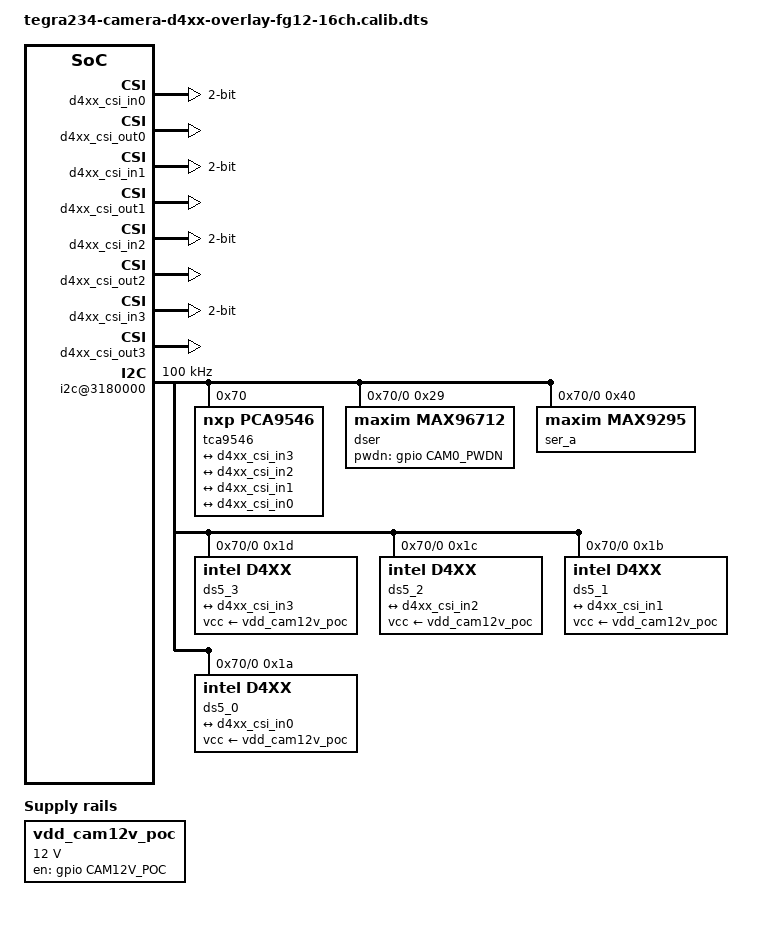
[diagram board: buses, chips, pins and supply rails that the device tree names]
// SPDX-License-Identifier: GPL-2.0-only
// SPDX-FileCopyrightText: Copyright (c) 2018-2023, INTEL CORPORATION.  All rights reserved.

/dts-v1/;
/plugin/;

#include <dt-bindings/clock/tegra234-clock.h>
#include <dt-bindings/gpio/tegra234-gpio.h>
#include <dt-bindings/tegra234-p3737-0000+p3701-0000.h>

#define CAM0_PWDN	TEGRA234_MAIN_GPIO(H, 6)  //MAX96712_1 PWDN
//#define CAM1_PWDN	TEGRA234_MAIN_GPIO(H, 3)  //MAX96712_2 PWDN
//#define CAM2_PWDN	TEGRA234_MAIN_GPIO(AC, 0) //MAX96712_3 PWDN
//#define CAM3_PWDN	TEGRA234_MAIN_GPIO(AC, 1) //MAX96712_4 PWDN
#define CAM12V_POC	TEGRA234_MAIN_GPIO(AC, 7)

#define CAMERA_I2C_MUX_BUS(x) (0x1E + x)



/* camera control gpio definitions */
/ {
	overlay-name = "Jetson RealSense Camera D4xx with max96712 and tca9546 (fg12-16ch) for Calibration";
	jetson-header-name = "Jetson AGX CSI Connector";
	compatible = JETSON_COMPATIBLE;

	fragment@1 {
		target-path = "/";
		__overlay__ {
			vdd_cam12v_poc: regulator-vdd-cam12v-poc {
					compatible = "regulator-fixed";
					regulator-name = "vdd-cam12v-poc";
					regulator-min-microvolt = <12000000>;
					regulator-max-microvolt = <12000000>;
					gpio = <&gpio CAM12V_POC GPIO_ACTIVE_HIGH>;
					enable-active-high;
			};
		};
	};
	fragment@0 {
		target-path = "/";
		__overlay__ {
			tegra-capture-vi {
				num-channels = <4>;
				ports {
					status = "okay";
					port@0 {
						status = "okay";
						reg = <0>;
						d4xx_vi_in0: endpoint {
							status = "okay";
							vc-id = <0>;
							port-index = <0>;
							bus-width = <2>;
							remote-endpoint = <&d4xx_csi_out0>;
						};
					};
					port@1 {
						status = "okay";
						reg = <1>;
						d4xx_vi_in1: endpoint {
							status = "okay";
							vc-id = <1>;
							port-index = <0>;
							bus-width = <2>;
							remote-endpoint = <&d4xx_csi_out1>;
						};
					};
					port@2 {
						status = "okay";
						reg = <2>;
						d4xx_vi_in2: endpoint {
							status = "okay";
							vc-id = <2>;
							port-index = <0>;
							bus-width = <2>;
							remote-endpoint = <&d4xx_csi_out2>;
						};
					};
					port@3 {
						status = "okay";
						reg = <3>;
						d4xx_vi_in3: endpoint {
							status = "okay";
							vc-id = <3>;
							port-index = <0>;
							bus-width = <2>;
							remote-endpoint = <&d4xx_csi_out3>;
						};
					};
				};
			};

			bus@0 {
				host1x@13e00000 {
					nvcsi@15a00000 {
						num-channels = <4>;
						channel@0 {
							status = "okay";
							reg = <0>;
							ports {
								status = "okay";
								port@0 {
									status = "okay";
									reg = <0>;
									d4xx_csi_in0: endpoint@0 {
										status = "okay";
										port-index = <0>;
										bus-width = <2>;
										remote-endpoint = <&ds5_0_out>;
									};
								};
								port@1 {
									status = "okay";
									reg = <1>;
									d4xx_csi_out0: endpoint@1 {
										status = "okay";
										remote-endpoint = <&d4xx_vi_in0>;
									};
								};
							};
						};
						channel@1 {
							status = "okay";
							reg = <1>;
							ports {
								status = "okay";
								port@0 {
									status = "okay";
									reg = <0>;
									d4xx_csi_in1: endpoint@2 {
										status = "okay";
										port-index = <0>;
										bus-width = <2>;
										remote-endpoint = <&ds5_1_out>;
									};
								};
								port@1 {
									status = "okay";
									reg = <1>;
									d4xx_csi_out1: endpoint@3 {
										status = "okay";
										remote-endpoint = <&d4xx_vi_in1>;
									};
								};
							};
						};
						channel@2 {
							status = "okay";
							reg = <2>;
							ports {
								status = "okay";
								port@0 {
									status = "okay";
									reg = <0>;
									d4xx_csi_in2: endpoint@4 {
										status = "okay";
										port-index = <0>;
										bus-width = <2>;
										remote-endpoint = <&ds5_2_out>;
									};
								};
								port@1 {
									status = "okay";
									reg = <1>;
									d4xx_csi_out2: endpoint@5 {
										status = "okay";
										remote-endpoint = <&d4xx_vi_in2>;
									};
								};
							};
						};
						channel@3 {
							status = "okay";
							reg = <3>;
							ports {
								status = "okay";
								port@0 {
									status = "okay";
									reg = <0>;
									d4xx_csi_in3: endpoint@6 {
										status = "okay";
										port-index = <0>;
										bus-width = <2>;
										remote-endpoint = <&ds5_3_out>;
									};
								};
								port@1 {
									status = "okay";
									reg = <1>;
									d4xx_csi_out3: endpoint@7 {
										status = "okay";
										remote-endpoint = <&d4xx_vi_in3>;
									};
								};
							};
						};
					};
				};

				i2c@3180000 {
					clock-frequency = <100000>;
					tca9546@70 {
						status = "okay";
						reg = <0x70>;
						compatible = "nxp,pca9546";
						#address-cells = <1>;
						#size-cells = <0>;
						skip_mux_detect = "yes";
						/*vcc-pullup-supply = <&battery_reg>;*/
						force_bus_start = <CAMERA_I2C_MUX_BUS(0)>;
						vcc_lp = "vcc";
						i2c@0 {
							status = "okay";
							reg = <0>;
							i2c-mux,deselect-on-exit;
							#address-cells = <1>;
							#size-cells = <0>;

							dser: max96712@29 {
								status = "okay";
								reg = <0x29>;
								compatible = "maxim,max96712";
								csi-mode = "2x4";
								max-src = <1>;
								channel = "a";
								pwdn-gpios = <&gpio CAM0_PWDN GPIO_ACTIVE_HIGH>;
							};

							ser_a: max9295_a@40 {
								status = "okay";
								compatible = "maxim,max9295";
								reg = <0x40>;
								maxim,gmsl-dser-device = <&dser>;
							};

							ds5_3: ds5@1d {
								status = "okay";
								def-addr = <0x10>;
								reg = <0x1d>;
								override_reg = <0x1a>;
								compatible = "intel,d4xx";
								use_sensor_mode_id = "true";
								vcc-supply = <&vdd_cam12v_poc>;
								cam-type = "IMU";
								nvidia,gmsl-ser-device = <&ser_a>;
								nvidia,gmsl-dser-device = <&dser>;
								ports {
									#address-cells = <1>;
									#size-cells = <0>;

									port@0 {
										reg = <0>;
										ds5_3_out: endpoint {
											vc-id = <3>;
											port-index = <3>;
											bus-width = <2>;
											remote-endpoint = <&d4xx_csi_in3>;
										};
									};
								};
								mode0 {
									pixel_t = "grey_y16";
									num_lanes = "2";
									csi_pixel_bit_depth = "16";
									active_w = "640";
									active_h = "480";
									tegra_sinterface = "serial_b";
									mclk_khz = "24000";
									pix_clk_hz = "74250000";
									line_length = "1280"; /* 2200 */
									embedded_metadata_height = "0";
								};
								gmsl-link {
									src-csi-port = "b";
									dst-csi-port = "a";
									serdes-csi-link = "a";
									csi-mode = "1x4";
									st-vc = <0>;
									vc-id = <3>;
									num-lanes = <2>;
								};
							};

							ds5_2: ds5@1c {
								status = "okay";
								def-addr = <0x10>;
								reg = <0x1c>;
								override_reg = <0x1a>;
								compatible = "intel,d4xx";
								use_sensor_mode_id = "true";
								vcc-supply = <&vdd_cam12v_poc>;
								cam-type = "Y8";
								nvidia,gmsl-ser-device = <&ser_a>;
								nvidia,gmsl-dser-device = <&dser>;
								ports {
									#address-cells = <1>;
									#size-cells = <0>;

									port@0 {
										reg = <0>;
										ds5_2_out: endpoint {
											vc-id = <2>;
											port-index = <2>;
											bus-width = <2>;
											remote-endpoint = <&d4xx_csi_in2>;
										};
									};
								};
								/* mode0: Y8, mode1: depth D16 */
								mode0 {
									pixel_t = "grey_y16";
									num_lanes = "2";
									csi_pixel_bit_depth = "16";
									active_w = "1280";
									active_h = "720";
									tegra_sinterface = "serial_b";
									mclk_khz = "24000";
									pix_clk_hz = "74250000";
									line_length = "1280"; /* 2200 */
									embedded_metadata_height = "0";
								};
								gmsl-link {
									src-csi-port = "b";
									dst-csi-port = "a";
									serdes-csi-link = "a";
									csi-mode = "1x4";
									st-vc = <0>;
									vc-id = <2>;
									num-lanes = <2>;
								};
							};

							ds5_1: ds5@1b {
								status = "okay";
								def-addr = <0x10>;
								reg = <0x1b>;
								override_reg = <0x1a>;
								compatible = "intel,d4xx";
								use_sensor_mode_id = "true";
								vcc-supply = <&vdd_cam12v_poc>;
								cam-type = "RGB";
								nvidia,gmsl-ser-device = <&ser_a>;
								nvidia,gmsl-dser-device = <&dser>;
								ports {
									#address-cells = <1>;
									#size-cells = <0>;

									port@0 {
										reg = <0>;
										ds5_1_out: endpoint {
											vc-id = <1>;
											port-index = <1>;
											bus-width = <2>;
											remote-endpoint = <&d4xx_csi_in1>;
										};
									};
								};
								mode0 {
									pixel_t = "grey_y16";
									num_lanes = "2";
									csi_pixel_bit_depth = "16";
									active_w = "1920";
									active_h = "1080";
									tegra_sinterface = "serial_e";
									mclk_khz = "24000";
									pix_clk_hz = "74250000";
									line_length = "1280"; /* 2200 */
									embedded_metadata_height = "1";
								};
								gmsl-link {
									src-csi-port = "b";
									dst-csi-port = "a";
									serdes-csi-link = "a";
									csi-mode = "1x4";
									st-vc = <0>;
									vc-id = <1>;
									num-lanes = <2>;
								};
							};

							ds5_0: ds5@1a {
								status = "okay";
								def-addr = <0x10>;
								reg = <0x1a>;
								compatible = "intel,d4xx";
								use_sensor_mode_id = "true";
								vcc-supply = <&vdd_cam12v_poc>;
								cam-type = "Depth";
								nvidia,gmsl-ser-device = <&ser_a>;
								nvidia,gmsl-dser-device = <&dser>;
								ports {
									#address-cells = <1>;
									#size-cells = <0>;

									port@0 {
										reg = <0>;
										ds5_0_out: endpoint {
											vc-id = <0>;
											port-index = <0>;
											bus-width = <2>;
											remote-endpoint = <&d4xx_csi_in0>;
										};
									};
								};
								mode0 {
									pixel_t = "grey_y16";
									num_lanes = "2";
									csi_pixel_bit_depth = "16";
									active_w = "1280";
									active_h = "720";
									tegra_sinterface = "serial_a";
									mclk_khz = "24000";
									pix_clk_hz = "74250000";
									line_length = "1280"; /* 2200 */
									embedded_metadata_height = "1";
								};
								gmsl-link {
									src-csi-port = "b";
									dst-csi-port = "a";
									serdes-csi-link = "a";
									csi-mode = "1x4";
									st-vc = <0>;
									vc-id = <0>;
									num-lanes = <2>;
								};
							};
						};
					};
				};
			};
		};
	};
};
